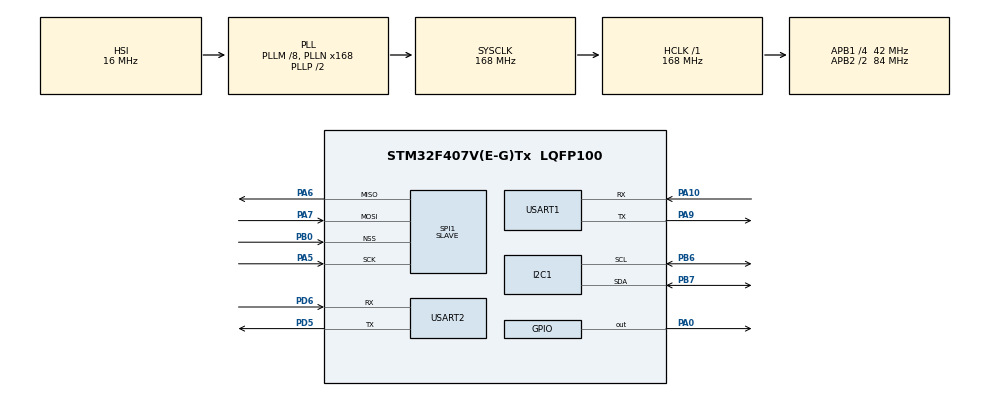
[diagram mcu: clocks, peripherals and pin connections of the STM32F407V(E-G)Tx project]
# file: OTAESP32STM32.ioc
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Mcu.Family=STM32F4
Mcu.Name=STM32F407V(E-G)Tx
Mcu.Package=LQFP100
NVIC.PriorityGroup=NVIC_PRIORITYGROUP_4
PA13.Mode=Serial_Wire
PA13.Signal=SYS_JTMS-SWDIO
PA14.Mode=Serial_Wire
PA14.Signal=SYS_JTCK-SWCLK
PH0-OSC_IN.Mode=HSE-External-Oscillator
PH0-OSC_IN.Signal=RCC_OSC_IN
PH1-OSC_OUT.Mode=HSE-External-Oscillator
PH1-OSC_OUT.Signal=RCC_OSC_OUT
ProjectManager.HeapSize=0x200
ProjectManager.StackSize=0x400
ProjectManager.TargetToolchain=CMake
RCC.48MHZClocksFreq_Value=84000000
RCC.AHBFreq_Value=168000000
RCC.APB1CLKDivider=RCC_HCLK_DIV4
RCC.APB1Freq_Value=42000000
RCC.APB1TimFreq_Value=84000000
RCC.APB2CLKDivider=RCC_HCLK_DIV2
RCC.APB2Freq_Value=84000000
RCC.APB2TimFreq_Value=168000000
RCC.CortexFreq_Value=168000000
RCC.HCLKFreq_Value=168000000
RCC.HSE_VALUE=25000000
RCC.HSI_VALUE=16000000
RCC.LSE_VALUE=32768
RCC.PLLM=8
RCC.PLLN=168
RCC.SYSCLKFreq_VALUE=168000000
RCC.SYSCLKSource=RCC_SYSCLKSOURCE_PLLCLK
RCC.VCOOutputFreq_Value=336000000
PA0.Mode=GPIO_Output
PA0.Signal=GPIO_Output
PA5.Mode=SPI1_SCK
PA5.Signal=SPI1_SCK
PA6.Mode=SPI1_MISO
PA6.Signal=SPI1_MISO
PA7.Mode=SPI1_MOSI
PA7.Signal=SPI1_MOSI
PA9.Mode=USART1_TX
PA9.Signal=USART1_TX
PA10.Mode=USART1_RX
PA10.Signal=USART1_RX
PB0.Mode=GPIO_Input
PB0.Signal=SPI1_NSS
PB6.Mode=I2C1_SCL
PB6.Signal=I2C1_SCL
PB7.Mode=I2C1_SDA
PB7.Signal=I2C1_SDA
PD5.Mode=USART2_TX
PD5.Signal=USART2_TX
PD6.Mode=USART2_RX
PD6.Signal=USART2_RX
PA0.Mode=Output_PP
PA0.Speed=GPIO_SPEED_FREQ_LOW
PA0.PinState=GPIO_PIN_SET
USART1.VirtualMode=VM_ASYNC
USART2.VirtualMode=VM_ASYNC
SPI1.BaudRatePrescaler=SPI_BAUDRATEPRESCALER_2
SPI1.Direction=SPI_DIRECTION_2LINES
SPI1.Mode=SPI_MODE_SLAVE
SPI1.VirtualType=VM_SLAVE
I2C1.Timing=0x10909CEC
DMA.Request0=SPI1_RX
DMA.Channel0=DMA_CHANNEL_3
DMA.Direction0=DMA_PERIPH_TO_MEMORY
DMA.MemInc0=DMA_MINC_ENABLE
DMA.PeriphInc0=DMA_PINC_DISABLE
DMA.Priority0=DMA_PRIORITY_HIGH
board=custom

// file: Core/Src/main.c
/* USER CODE BEGIN Header */
/**
  ******************************************************************************
  * @file           : main.c
  * @brief          : Main program body
  ******************************************************************************
  * @attention
  *
  * Copyright (c) 2026 STMicroelectronics.
  * All rights reserved.
  *
  * This software is licensed under terms that can be found in the LICENSE file
  * in the root directory of this software component.
  * If no LICENSE file comes with this software, it is provided AS-IS.
  *
  ******************************************************************************
  */
/* USER CODE END Header */
#include "main.h"
#include "gpio.h"

/* USER CODE BEGIN Includes */
#include <string.h>
#include "ota_receiver.h"
#include "i2c.h"
#include "oled.h"
/* USER CODE END Includes */

UART_HandleTypeDef huart1;   /* debug UART (PA9/PA10 → USB-TTL) */
UART_HandleTypeDef huart2;   /* ESP32 UART (PD5/PD6 → ESP32 GPIO18/17) */
SPI_HandleTypeDef hspi1;
DMA_HandleTypeDef hdma_spi1_rx;

void SystemClock_Config(void);
static void MX_USART1_UART_Init(void);
static void MX_USART2_UART_Init(void);
static void MX_SPI1_Init(void);
static void MX_DMA_Init(void);

int main(void)
{

  /* MCU Configuration--------------------------------------------------------*/

  /* Reset of all peripherals, Initializes the Flash interface and the Systick. */
  HAL_Init();

  /* USER CODE BEGIN Init */

  /* Extend IWDG timeout to max (~32s) so Flash erase doesn't reset us */
  IWDG->KR = 0x5555;  /* unlock */
  IWDG->PR = 0x07;    /* prescaler = 256 */
  IWDG->RLR = 0x0FFF; /* reload = 4095 */
  IWDG->KR = 0xAAAA;  /* feed */
  IWDG->KR = 0xCCCC;  /* start (if not already running) */

  /* USER CODE END Init */

  /* Configure the system clock */
  SystemClock_Config();

  /* Initialize all configured peripherals */
  MX_GPIO_Init();
  MX_DMA_Init();
  MX_I2C1_Init();
  MX_USART1_UART_Init();
  MX_USART2_UART_Init();
  MX_SPI1_Init();
  /* USER CODE BEGIN 2 */

  /* ---- OLED Init ---- */
  OLED_Init();
  OLED_ShowString(0, 0, "STM32 OTA Ready");
  OLED_ShowString(0, 16, "TEST-52");
  OLED_Update();

  /* ---- Say hello over UART ---- */
  const char *msg = "STM32 App started\r\n";
  HAL_UART_Transmit(&huart1, (uint8_t *)msg, strlen(msg), 100);

  /* Start OTA receiver (UART2 interrupt + SPI DMA ready) */
  ota_receiver_init();

  /* Tell ESP32 we booted */
  ota_send_booted();

  /* ---- Status LED ---- */
  GPIO_InitTypeDef led_init = {0};
  led_init.Pin = LED_GPIO_PIN;
  led_init.Mode = GPIO_MODE_OUTPUT_PP;
  led_init.Pull = GPIO_NOPULL;
  led_init.Speed = GPIO_SPEED_FREQ_LOW;
  HAL_GPIO_Init(LED_GPIO_PORT, &led_init);

  /* ---- GPIO Alternate Function configuration for USART1 and SPI1 ---- */
  GPIO_InitTypeDef GPIO_InitStruct = {0};

  /* USART1 TX = PA9, RX = PA10 */
  GPIO_InitStruct.Pin = GPIO_PIN_9 | GPIO_PIN_10;
  GPIO_InitStruct.Mode = GPIO_MODE_AF_PP;
  GPIO_InitStruct.Pull = GPIO_NOPULL;
  GPIO_InitStruct.Speed = GPIO_SPEED_FREQ_HIGH;
  GPIO_InitStruct.Alternate = GPIO_AF7_USART1;
  HAL_GPIO_Init(GPIOA, &GPIO_InitStruct);

  /* SPI1 SCK = PA5, MISO = PA6, MOSI = PA7 */
  GPIO_InitStruct.Pin = GPIO_PIN_5 | GPIO_PIN_6 | GPIO_PIN_7;
  GPIO_InitStruct.Mode = GPIO_MODE_AF_PP;
  GPIO_InitStruct.Pull = GPIO_NOPULL;
  GPIO_InitStruct.Speed = GPIO_SPEED_FREQ_HIGH;
  GPIO_InitStruct.Alternate = GPIO_AF5_SPI1;
  HAL_GPIO_Init(GPIOA, &GPIO_InitStruct);

  /* SPI1 NSS = PB0 */
  GPIO_InitStruct.Pin = GPIO_PIN_0;
  GPIO_InitStruct.Mode = GPIO_MODE_AF_PP;
  GPIO_InitStruct.Pull = GPIO_NOPULL;
  GPIO_InitStruct.Speed = GPIO_SPEED_FREQ_HIGH;
  GPIO_InitStruct.Alternate = GPIO_AF5_SPI1;
  HAL_GPIO_Init(GPIOB, &GPIO_InitStruct);

  /* USER CODE END 2 */

  /* Infinite loop */
  while (1)
  {
    IWDG->KR = 0xAAAA;  /* feed watchdog */

    ota_receiver_process();

    /* ---- Status LED blink fast (~4Hz) ---- */
    static uint32_t led_tick = 0;
    led_tick++;
    if (led_tick >= 125) {
        led_tick = 0;
        HAL_GPIO_TogglePin(LED_GPIO_PORT, LED_GPIO_PIN);
    }
    HAL_Delay(1);

  }
}

void SystemClock_Config(void)
{
  RCC_OscInitTypeDef RCC_OscInitStruct = {0};
  RCC_ClkInitTypeDef RCC_ClkInitStruct = {0};

  /** Configure the main internal regulator output voltage
  */
  __HAL_RCC_PWR_CLK_ENABLE();
  __HAL_PWR_VOLTAGESCALING_CONFIG(PWR_REGULATOR_VOLTAGE_SCALE1);

  /** Initializes the RCC Oscillators according to the specified parameters
  * in the RCC_OscInitTypeDef structure.
  */
  RCC_OscInitStruct.OscillatorType = RCC_OSCILLATORTYPE_HSI;
  RCC_OscInitStruct.HSIState = RCC_HSI_ON;
  RCC_OscInitStruct.HSICalibrationValue = RCC_HSICALIBRATION_DEFAULT;
  RCC_OscInitStruct.PLL.PLLState = RCC_PLL_ON;
  RCC_OscInitStruct.PLL.PLLSource = RCC_PLLSOURCE_HSI;
  RCC_OscInitStruct.PLL.PLLM = 8;
  RCC_OscInitStruct.PLL.PLLN = 168;
  RCC_OscInitStruct.PLL.PLLP = RCC_PLLP_DIV2;
  RCC_OscInitStruct.PLL.PLLQ = 4;
  if (HAL_RCC_OscConfig(&RCC_OscInitStruct) != HAL_OK)
  {
    Error_Handler();
  }

  /** Initializes the CPU, AHB and APB buses clocks
  */
  RCC_ClkInitStruct.ClockType = RCC_CLOCKTYPE_HCLK|RCC_CLOCKTYPE_SYSCLK
                              |RCC_CLOCKTYPE_PCLK1|RCC_CLOCKTYPE_PCLK2;
  RCC_ClkInitStruct.SYSCLKSource = RCC_SYSCLKSOURCE_PLLCLK;
  RCC_ClkInitStruct.AHBCLKDivider = RCC_SYSCLK_DIV1;
  RCC_ClkInitStruct.APB1CLKDivider = RCC_HCLK_DIV4;
  RCC_ClkInitStruct.APB2CLKDivider = RCC_HCLK_DIV2;

  if (HAL_RCC_ClockConfig(&RCC_ClkInitStruct, FLASH_LATENCY_5) != HAL_OK)
  {
    Error_Handler();
  }
}

/* USER CODE BEGIN 4 */

/**
  * @brief USART2 Initialization Function (ESP32 communication)
  * PD5 = TX, PD6 = RX, 115200-8-N-1
  */
static void MX_USART2_UART_Init(void)
{
  huart2.Instance = USART2;
  huart2.Init.BaudRate = UART_BAUDRATE;
  huart2.Init.WordLength = UART_WORDLENGTH_8B;
  huart2.Init.StopBits = UART_STOPBITS_1;
  huart2.Init.Parity = UART_PARITY_NONE;
  huart2.Init.Mode = UART_MODE_TX_RX;
  huart2.Init.HwFlowCtl = UART_HWCONTROL_NONE;
  huart2.Init.OverSampling = UART_OVERSAMPLING_16;
  if (HAL_UART_Init(&huart2) != HAL_OK)
  {
    Error_Handler();
  }
}

/**
  * @brief USART1 Initialization Function
  * PA9  = TX, PA10 = RX, 115200-8-N-1
  */
static void MX_USART1_UART_Init(void)
{
  huart1.Instance = USART1;
  huart1.Init.BaudRate = UART_BAUDRATE;
  huart1.Init.WordLength = UART_WORDLENGTH_8B;
  huart1.Init.StopBits = UART_STOPBITS_1;
  huart1.Init.Parity = UART_PARITY_NONE;
  huart1.Init.Mode = UART_MODE_TX_RX;
  huart1.Init.HwFlowCtl = UART_HWCONTROL_NONE;
  huart1.Init.OverSampling = UART_OVERSAMPLING_16;
  if (HAL_UART_Init(&huart1) != HAL_OK)
  {
    Error_Handler();
  }
}

/**
  * @brief SPI1 Initialization Function (Slave mode)
  * PA5 = SCK, PA6 = MISO, PA7 = MOSI, PB0 = NSS (hardware)
  */
static void MX_SPI1_Init(void)
{
  hspi1.Instance = SPI1;
  hspi1.Init.Mode = SPI_MODE_SLAVE;
  hspi1.Init.Direction = SPI_DIRECTION_2LINES;
  hspi1.Init.DataSize = SPI_DATASIZE_8BIT;
  hspi1.Init.CLKPolarity = SPI_POLARITY_LOW;
  hspi1.Init.CLKPhase = SPI_PHASE_1EDGE;
  hspi1.Init.NSS = SPI_NSS_HARD_INPUT;
  hspi1.Init.FirstBit = SPI_FIRSTBIT_MSB;
  hspi1.Init.TIMode = SPI_TIMODE_DISABLE;
  hspi1.Init.CRCCalculation = SPI_CRCCALCULATION_DISABLE;
  hspi1.Init.CRCPolynomial = 10;
  if (HAL_SPI_Init(&hspi1) != HAL_OK)
  {
    Error_Handler();
  }
}

/**
  * @brief DMA Initialization (SPI1_RX on DMA2 Stream 0 Channel 3)
  */
static void MX_DMA_Init(void)
{
  __HAL_RCC_DMA2_CLK_ENABLE();

  hdma_spi1_rx.Instance = DMA2_Stream0;
  hdma_spi1_rx.Init.Channel = DMA_CHANNEL_3;
  hdma_spi1_rx.Init.Direction = DMA_PERIPH_TO_MEMORY;
  hdma_spi1_rx.Init.PeriphInc = DMA_PINC_DISABLE;
  hdma_spi1_rx.Init.MemInc = DMA_MINC_ENABLE;
  hdma_spi1_rx.Init.PeriphDataAlignment = DMA_PDATAALIGN_BYTE;
  hdma_spi1_rx.Init.MemDataAlignment = DMA_MDATAALIGN_BYTE;
  hdma_spi1_rx.Init.Mode = DMA_NORMAL;
  hdma_spi1_rx.Init.Priority = DMA_PRIORITY_HIGH;
  hdma_spi1_rx.Init.FIFOMode = DMA_FIFOMODE_DISABLE;
  if (HAL_DMA_Init(&hdma_spi1_rx) != HAL_OK)
  {
    Error_Handler();
  }

  __HAL_LINKDMA(&hspi1, hdmarx, hdma_spi1_rx);

  HAL_NVIC_SetPriority(DMA2_Stream0_IRQn, 0, 0);
  HAL_NVIC_EnableIRQ(DMA2_Stream0_IRQn);
}

/* USER CODE END 4 */

void Error_Handler(void)
{
  __disable_irq();
  while (1)
  {
  }
}
